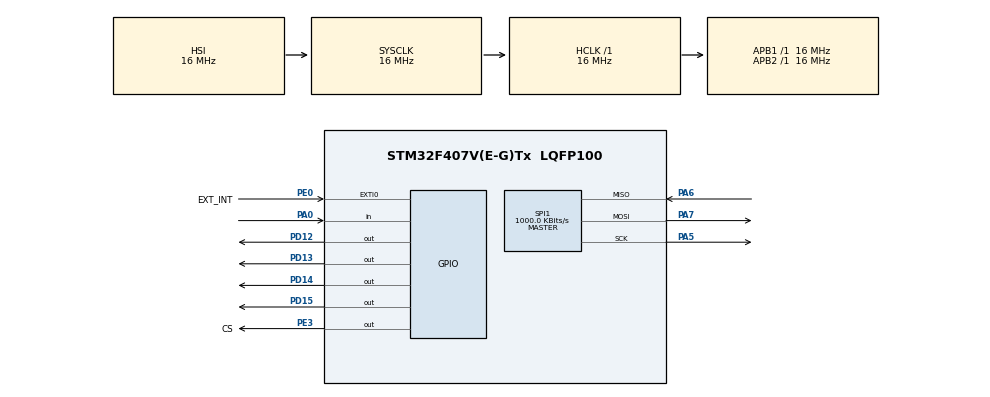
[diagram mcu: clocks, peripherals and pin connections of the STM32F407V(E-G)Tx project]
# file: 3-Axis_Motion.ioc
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Mcu.Family=STM32F4
Mcu.Name=STM32F407V(E-G)Tx
Mcu.Package=LQFP100
NVIC.EXTI0_IRQn=true\:0\:0\:false\:false\:true\:true\:true
NVIC.PriorityGroup=NVIC_PRIORITYGROUP_4
PA0-WKUP.Signal=GPIO_Input
PA5.Mode=Full_Duplex_Master
PA5.Signal=SPI1_SCK
PA6.Mode=Full_Duplex_Master
PA6.Signal=SPI1_MISO
PA7.Mode=Full_Duplex_Master
PA7.Signal=SPI1_MOSI
PD12.Signal=GPIO_Output
PD13.Signal=GPIO_Output
PD14.Signal=GPIO_Output
PD15.Signal=GPIO_Output
PE0.GPIO_Label=EXT_INT
PE0.Signal=GPXTI0
PE3.GPIO_Label=CS
PE3.Signal=GPIO_Output
ProjectManager.HeapSize=0x200
ProjectManager.StackSize=0x400
ProjectManager.TargetToolchain=MDK-ARM V5.27
RCC.AHBFreq_Value=16000000
RCC.APB1Freq_Value=16000000
RCC.APB2Freq_Value=16000000
RCC.CortexFreq_Value=16000000
RCC.HSE_VALUE=25000000
RCC.HSI_VALUE=16000000
RCC.LSE_VALUE=32768
RCC.SYSCLKFreq_VALUE=16000000
RCC.VCOOutputFreq_Value=192000000
SPI1.BaudRatePrescaler=SPI_BAUDRATEPRESCALER_16
SPI1.CalculateBaudRate=1000.0 KBits/s
SPI1.Direction=SPI_DIRECTION_2LINES
SPI1.Mode=SPI_MODE_MASTER
SPI1.VirtualType=VM_MASTER
board=custom

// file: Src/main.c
/* USER CODE BEGIN Header */
/**
  ******************************************************************************
  * @file           : main.c
  * @brief          : Main program body
  ******************************************************************************
  * @attention
  *
  * <h2><center>&copy; Copyright (c) 2020 STMicroelectronics.
  * All rights reserved.</center></h2>
  *
  * This software component is licensed by ST under BSD 3-Clause license,
  * the "License"; You may not use this file except in compliance with the
  * License. You may obtain a copy of the License at:
  *                        opensource.org/licenses/BSD-3-Clause
  *
  ******************************************************************************
  */
/* USER CODE END Header */

#include "main.h"

/* USER CODE BEGIN Includes */
#include "LIS3DSH.h"
#include <math.h>
/* USER CODE END Includes */

SPI_HandleTypeDef hspi1;

void SystemClock_Config(void);
static void MX_GPIO_Init(void);
static void MX_SPI1_Init(void);

/* USER CODE BEGIN 0 */

LIS3DSH_DataScaled data_xyz;

uint8_t data_rdy = 0;

uint32_t delay_time;

// led flash for Z-axis
void GYROFUNC_Z_FlashLED()
{

		if( fabs(data_xyz.z) > 0 && fabs(data_xyz.z) < 125)
		{
			HAL_GPIO_TogglePin(GPIOD, GPIO_PIN_12);
			HAL_Delay(50);
		}
		if( fabs(data_xyz.z) > 125 && fabs(data_xyz.z) < 250)
		{
			HAL_GPIO_TogglePin(GPIOD, GPIO_PIN_12);
			HAL_Delay(100);
		}
		if( fabs(data_xyz.z) > 250 && fabs(data_xyz.z) < 450)
		{
			HAL_GPIO_TogglePin(GPIOD, GPIO_PIN_12);
			HAL_Delay(150);
		}
		if( fabs(data_xyz.z) > 450 && fabs(data_xyz.z) < 650)
		{
			HAL_GPIO_TogglePin(GPIOD, GPIO_PIN_12);
			HAL_Delay(200);
		}
		if( fabs(data_xyz.z) > 650 && fabs(data_xyz.z) < 950)
		{
			HAL_GPIO_TogglePin(GPIOD, GPIO_PIN_12);
			HAL_Delay(250);
		}
		if( fabs(data_xyz.z) > 950 && fabs(data_xyz.z) < 1100)
		{
			HAL_GPIO_WritePin(GPIOD, GPIO_PIN_12, GPIO_PIN_RESET);
		}

}

/* USER CODE END 0 */

int main(void)
{
  /* USER CODE BEGIN 1 */
	LIS3DSH_InitTypeDef myAccConfigDef;

  /* USER CODE END 1 */

  /* MCU Configuration--------------------------------------------------------*/

  /* Reset of all peripherals, Initializes the Flash interface and the Systick. */
  HAL_Init();

  /* Configure the system clock */
  SystemClock_Config();

  /* Initialize all configured peripherals */
  MX_GPIO_Init();
  MX_SPI1_Init();
  /* USER CODE BEGIN 2 */

	myAccConfigDef.dataRate = LIS3DSH_DATARATE_400;
	myAccConfigDef.fullScale = LIS3DSH_FULLSCALE_4;
	myAccConfigDef.antiAliasingBW = LIS3DSH_FULLSCALE_4;
	myAccConfigDef.enableAxes = LIS3DSH_XYZ_ENABLE;
	myAccConfigDef.interruptEnable = true;

	LIS3DSH_Init(&hspi1, &myAccConfigDef);

	//LIS3DSH_X_calibrate(-8.0,27.0);
	//LIS3DSH_Y_calibrate(-16.0,-4.0);
	//LIS3DSH_Z_calibrate(993.0,1020.0);

  /* USER CODE END 2 */

  /* Infinite loop */
  while (1)
  {
		data_xyz = LIS3DSH_GetDataScaled();

		GYROFUNC_Z_FlashLED();

	//if(data_rdy == 1)
	//	{
	//		data_rdy = 0;
	//		data_xyz = LIS3DSH_GetDataScaled();
	//		HAL_GPIO_TogglePin(GPIOD, GPIO_PIN_13);
	//	}

		//data_xyz.x;
		//data_xyz.y;
		//data_xyz.z;

  }
}

void SystemClock_Config(void)
{
  RCC_OscInitTypeDef RCC_OscInitStruct = {0};
  RCC_ClkInitTypeDef RCC_ClkInitStruct = {0};

  /** Configure the main internal regulator output voltage
  */
  __HAL_RCC_PWR_CLK_ENABLE();
  __HAL_PWR_VOLTAGESCALING_CONFIG(PWR_REGULATOR_VOLTAGE_SCALE1);
  /** Initializes the CPU, AHB and APB busses clocks
  */
  RCC_OscInitStruct.OscillatorType = RCC_OSCILLATORTYPE_HSI;
  RCC_OscInitStruct.HSIState = RCC_HSI_ON;
  RCC_OscInitStruct.HSICalibrationValue = RCC_HSICALIBRATION_DEFAULT;
  RCC_OscInitStruct.PLL.PLLState = RCC_PLL_NONE;
  if (HAL_RCC_OscConfig(&RCC_OscInitStruct) != HAL_OK)
  {
    Error_Handler();
  }
  /** Initializes the CPU, AHB and APB busses clocks
  */
  RCC_ClkInitStruct.ClockType = RCC_CLOCKTYPE_HCLK|RCC_CLOCKTYPE_SYSCLK
                              |RCC_CLOCKTYPE_PCLK1|RCC_CLOCKTYPE_PCLK2;
  RCC_ClkInitStruct.SYSCLKSource = RCC_SYSCLKSOURCE_HSI;
  RCC_ClkInitStruct.AHBCLKDivider = RCC_SYSCLK_DIV1;
  RCC_ClkInitStruct.APB1CLKDivider = RCC_HCLK_DIV1;
  RCC_ClkInitStruct.APB2CLKDivider = RCC_HCLK_DIV1;

  if (HAL_RCC_ClockConfig(&RCC_ClkInitStruct, FLASH_LATENCY_0) != HAL_OK)
  {
    Error_Handler();
  }
}

static void MX_SPI1_Init(void)
{

  /* SPI1 parameter configuration*/
  hspi1.Instance = SPI1;
  hspi1.Init.Mode = SPI_MODE_MASTER;
  hspi1.Init.Direction = SPI_DIRECTION_2LINES;
  hspi1.Init.DataSize = SPI_DATASIZE_8BIT;
  hspi1.Init.CLKPolarity = SPI_POLARITY_LOW;
  hspi1.Init.CLKPhase = SPI_PHASE_1EDGE;
  hspi1.Init.NSS = SPI_NSS_SOFT;
  hspi1.Init.BaudRatePrescaler = SPI_BAUDRATEPRESCALER_16;
  hspi1.Init.FirstBit = SPI_FIRSTBIT_MSB;
  hspi1.Init.TIMode = SPI_TIMODE_DISABLE;
  hspi1.Init.CRCCalculation = SPI_CRCCALCULATION_DISABLE;
  hspi1.Init.CRCPolynomial = 10;
  if (HAL_SPI_Init(&hspi1) != HAL_OK)
  {
    Error_Handler();
  }

}

static void MX_GPIO_Init(void)
{
  GPIO_InitTypeDef GPIO_InitStruct = {0};

  /* GPIO Ports Clock Enable */
  __HAL_RCC_GPIOE_CLK_ENABLE();
  __HAL_RCC_GPIOA_CLK_ENABLE();
  __HAL_RCC_GPIOD_CLK_ENABLE();

  /*Configure GPIO pin Output Level */
  HAL_GPIO_WritePin(CS_GPIO_Port, CS_Pin, GPIO_PIN_RESET);

  /*Configure GPIO pin Output Level */
  HAL_GPIO_WritePin(GPIOD, GPIO_PIN_12|GPIO_PIN_13|GPIO_PIN_14|GPIO_PIN_15, GPIO_PIN_RESET);

  /*Configure GPIO pin : CS_Pin */
  GPIO_InitStruct.Pin = CS_Pin;
  GPIO_InitStruct.Mode = GPIO_MODE_OUTPUT_PP;
  GPIO_InitStruct.Pull = GPIO_NOPULL;
  GPIO_InitStruct.Speed = GPIO_SPEED_FREQ_LOW;
  HAL_GPIO_Init(CS_GPIO_Port, &GPIO_InitStruct);

  /*Configure GPIO pin : PA0 */
  GPIO_InitStruct.Pin = GPIO_PIN_0;
  GPIO_InitStruct.Mode = GPIO_MODE_INPUT;
  GPIO_InitStruct.Pull = GPIO_NOPULL;
  HAL_GPIO_Init(GPIOA, &GPIO_InitStruct);

  /*Configure GPIO pins : PD12 PD13 PD14 PD15 */
  GPIO_InitStruct.Pin = GPIO_PIN_12|GPIO_PIN_13|GPIO_PIN_14|GPIO_PIN_15;
  GPIO_InitStruct.Mode = GPIO_MODE_OUTPUT_PP;
  GPIO_InitStruct.Pull = GPIO_NOPULL;
  GPIO_InitStruct.Speed = GPIO_SPEED_FREQ_LOW;
  HAL_GPIO_Init(GPIOD, &GPIO_InitStruct);

  /*Configure GPIO pin : EXT_INT_Pin */
  GPIO_InitStruct.Pin = EXT_INT_Pin;
  GPIO_InitStruct.Mode = GPIO_MODE_IT_RISING;
  GPIO_InitStruct.Pull = GPIO_NOPULL;
  HAL_GPIO_Init(EXT_INT_GPIO_Port, &GPIO_InitStruct);

  /* EXTI interrupt init*/
  HAL_NVIC_SetPriority(EXTI0_IRQn, 0, 0);
  HAL_NVIC_EnableIRQ(EXTI0_IRQn);

}

/* USER CODE BEGIN 4 */

void HAL_GPIO_EXTI_Callback(uint16_t GPIO_Pin)
{
  /* Prevent unused argument(s) compilation warning */
  UNUSED(GPIO_Pin);
	//data_rdy = 1;
	//HAL_GPIO_TogglePin(GPIOD, GPIO_PIN_13);
  /* NOTE: This function Should not be modified, when the callback is needed,
           the HAL_GPIO_EXTI_Callback could be implemented in the user file
   */
}

/* USER CODE END 4 */

void Error_Handler(void)
{
}

/************************ (C) COPYRIGHT STMicroelectronics *****END OF FILE****/
